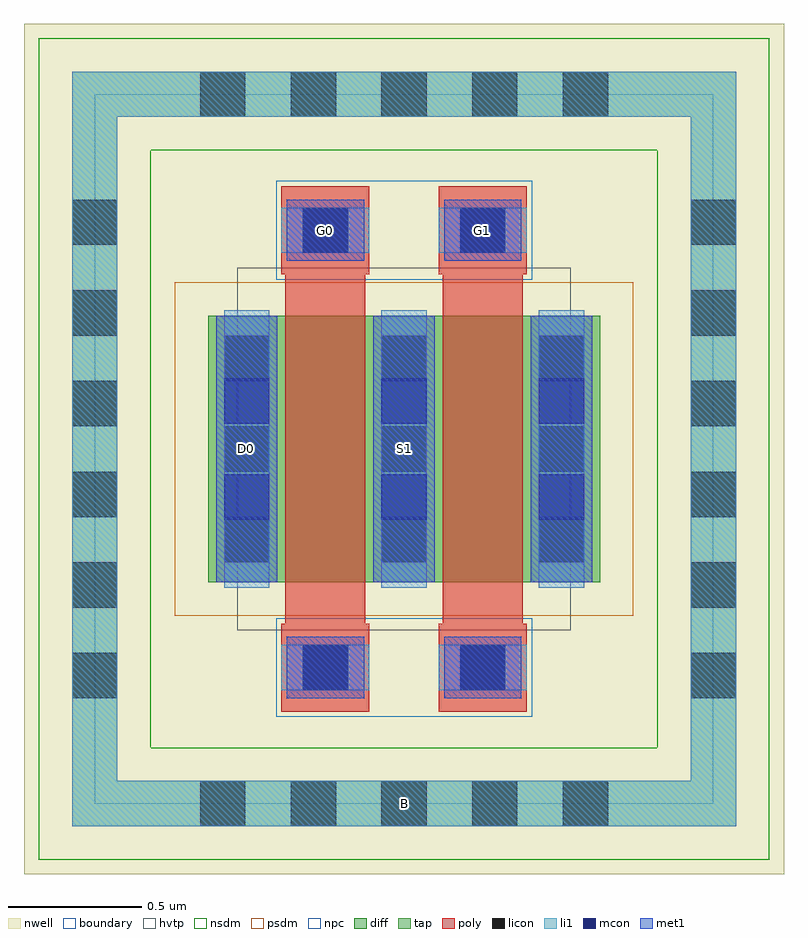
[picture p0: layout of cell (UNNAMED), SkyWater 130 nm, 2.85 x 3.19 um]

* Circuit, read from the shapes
.subckt (UNNAMED) B D0 G0 G1 S1
XM1 S1 G0 D0 B sky130_fd_pr__pfet_01v8_hvt w=1 l=0.3
XM2 n1 G1 S1 B sky130_fd_pr__pfet_01v8_hvt w=1 l=0.3
.ends

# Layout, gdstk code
import gdstk
lib = gdstk.Library(unit=1e-6, precision=1e-09)
def R(c, l, rs):  # rectangles x0, y0, x1, y1
    for r in rs: c.add(gdstk.rectangle(r[:2], r[2:], *l))
def A(c, l, x, y, w, h, nx, ny, dx, dy):  # array of equal rectangles
    R(c, l, [(x+i*dx, y+j*dy, x+i*dx+w, y+j*dy+h) for i in range(nx) for j in range(ny)])
nwell = (64, 20)
diff = (65, 20)
tap = (65, 44)
poly = (66, 20)
licon = (66, 44)
li1 = (67, 20)
mcon = (67, 44)
met1 = (68, 20)
hvtp = (78, 44)
nsdm = (93, 44)
psdm = (94, 20)
npc = (95, 20)
boundary = (235, 4)

c__unnamed_ = lib.new_cell('(UNNAMED)')
R(c__unnamed_, nwell, [(-1.425,-1.595,1.425,1.595)])
R(c__unnamed_, diff, [(-0.735,-0.5,0.735,0.5)])
R(c__unnamed_, tap, [(-1.245,-1.415,1.245,-1.245), (-1.245,-1.245,-1.075,1.245), (1.075,-1.245,1.245,1.245), (-1.245,1.245,1.245,1.415)])
R(c__unnamed_, poly, [(-0.46,-0.985,-0.13,-0.655), (0.13,-0.985,0.46,-0.655), (-0.445,-0.655,-0.145,0.655), (0.145,-0.655,0.445,0.655), (-0.46,0.655,-0.13,0.985), (0.13,0.655,0.46,0.985)])
A(c__unnamed_, licon, -0.765, -1.415, 0.17, 0.17, 5, 2, 0.34, 2.66)
A(c__unnamed_, licon, -1.245, -0.935, 0.17, 0.17, 1, 6, 0, 0.34)
A(c__unnamed_, licon, 1.075, -0.935, 0.17, 0.17, 1, 6, 0, 0.34)
A(c__unnamed_, licon, -0.675, -0.425, 0.17, 0.17, 3, 3, 0.59, 0.34)
R(c__unnamed_, licon, [(-0.38,-0.905,-0.21,-0.735), (0.21,-0.905,0.38,-0.735), (-0.38,0.735,-0.21,0.905), (0.21,0.735,0.38,0.905)])
A(c__unnamed_, li1, -0.675, -0.52, 0.17, 1.04, 3, 1, 0.59, 0)
R(c__unnamed_, li1, [(-1.245,-1.415,1.245,-1.245), (-1.245,-1.245,-1.075,1.245), (1.075,-1.245,1.245,1.245), (-0.46,-0.905,-0.13,-0.735), (0.13,-0.905,0.46,-0.735), (-0.46,0.735,-0.13,0.905), (0.13,0.735,0.46,0.905), (-1.245,1.245,1.245,1.415)])
A(c__unnamed_, mcon, -0.675, -0.265, 0.17, 0.17, 3, 2, 0.59, 0.36)
R(c__unnamed_, mcon, [(-0.38,-0.905,-0.21,-0.735), (0.21,-0.905,0.38,-0.735), (-0.38,0.735,-0.21,0.905), (0.21,0.735,0.38,0.905)])
A(c__unnamed_, met1, -0.705, -0.5, 0.23, 1, 3, 1, 0.59, 0)
R(c__unnamed_, met1, [(-0.44,-0.935,-0.15,-0.705), (0.15,-0.935,0.44,-0.705), (-0.44,0.705,-0.15,0.935), (0.15,0.705,0.44,0.935)])
R(c__unnamed_, hvtp, [(-0.625,-0.68,0.625,0.68)])
R(c__unnamed_, nsdm, [(-1.37,-1.54,1.37,-1.12), (-1.37,-1.12,-0.95,1.12), (0.95,-1.12,1.37,1.12), (-1.37,1.12,1.37,1.54)])
R(c__unnamed_, psdm, [(-0.86,-0.625,0.86,0.625)])
R(c__unnamed_, npc, [(-0.48,-1.005,0.48,-0.635), (-0.48,0.635,0.48,1.005)])
R(c__unnamed_, boundary, [(-1.16,-1.33,1.16,1.33)])
c__unnamed_.add(gdstk.Label('B', (0,-1.33), layer=67, texttype=5))
c__unnamed_.add(gdstk.Label('D0', (-0.59,0), layer=67, texttype=5))
c__unnamed_.add(gdstk.Label('G0', (-0.295,0.82), layer=67, texttype=5))
c__unnamed_.add(gdstk.Label('S1', (0,0), layer=67, texttype=5))
c__unnamed_.add(gdstk.Label('G1', (0.295,0.82), layer=67, texttype=5))

lib.write_gds('_UNNAMED_.gds')
